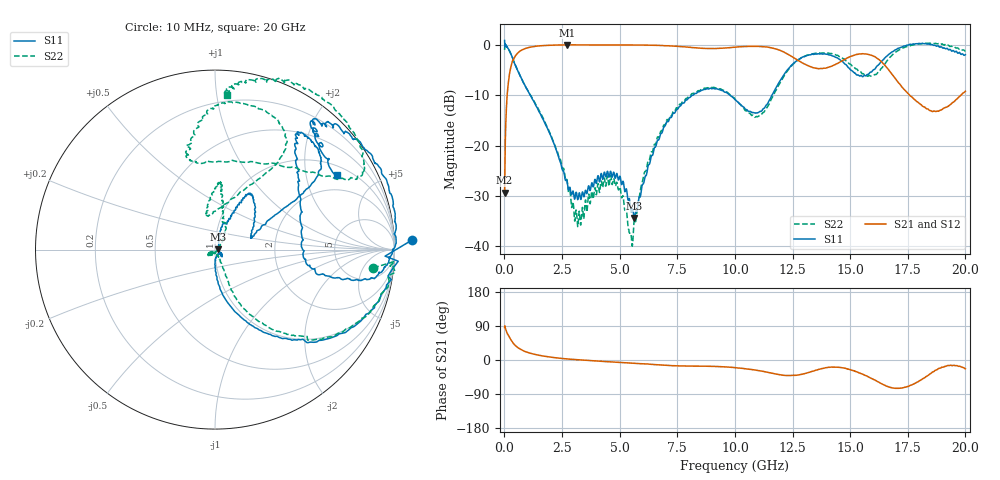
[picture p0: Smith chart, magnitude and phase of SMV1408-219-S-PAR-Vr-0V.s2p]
! Skyworks SMV1408-219 De-embedded S-Parameter Data
! Created  11-5-2013
! 2 Port Network Data
! Mounted on Board # SK41159-3 Rev 1 in Series, Cathode is connected to RF1 as Input( Pin 1) and Anode is connected RF2 as Output(Pin 2)
! Temperature = +25 °C
! RF traces and connectors are de-embedded using TRL calibration and standards
! Reference planes are package pins
! Pin 1 Input port (S-Port1), Pin 2 Output port (S-port2)
! Pin = 0 dBm, Bias: Vr = 0V
! Dev # 1
#  HZ  S  DB  R  50.00
! Rohde & Schwarz ZVA24 4Ports - Version 2.90 - 1145.1110k26 SN: 100216
! Date: 2013-11-05 15:24:36
! Measurements: S11 S21 S12 S22
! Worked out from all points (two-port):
!   2000 points, 10 MHz to 20 GHz, reference 50 ohm
!   highest |S21| = -0.04 dB at 2.73 GHz (marker M1); lowest = -29.4 dB at 10 MHz (marker M2)
!   |S21| within 3 dB of the highest: 387.5 MHz to 12.71 GHz (12.32 GHz wide, 188 % of centre); 14.71 GHz to 16.27 GHz (1.56 GHz wide, 10.1 % of centre)
!   lowest |S11| = -34.4 dB at 5.63 GHz (marker M3), VSWR 1.04, Z = 52 + j0.0925 ohm
!   |S11| at or under -10 dB: 1.126 GHz to 8.193 GHz (7.068 GHz wide, 152 % of centre); 9.779 GHz to 11.61 GHz (1.83 GHz wide, 17.1 % of centre)
!   |S22| runs from -39.9 to 0.3 dB; largest |S21 - S12| = 0.019
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1e7  0.84 2.8  -29.35 85.7  -30.08 86.9  -1.04 -6.6
1.7e8  -0.81 -24.8  -7.70 65.4  -7.68 65.4  -0.80 -24.6
4.3e8  -3.57 -49.6  -2.61 41.0  -2.63 40.9  -3.60 -46.4
1.15e9  -10.20 -76.2  -0.47 17.4  -0.47 17.4  -10.12 -66.6
2.73e9  -27.41 -81.9  -0.04 2.8  -0.05 2.8  -27.19 -65.5
3.35e9  -30.04 -38.7  -0.04 -0.2  -0.04 -0.3  -33.64 -134.3
4.68e9  -26.27 -42.6  -0.05 -5.2  -0.07 -5.3  -27.73 -136.8
5.48e9  -32.47 -23.2  -0.06 -8.1  -0.07 -8.0  -37.52 -45.8
5.63e9  -34.36 2.7  -0.06 -8.7  -0.06 -8.4  -34.98 -3.0
6.01e9  -27.69 59.7  -0.08 -10.1  -0.08 -9.9  -26.75 43.0
6.68e9  -18.90 73.2  -0.14 -12.8  -0.15 -12.6  -18.39 63.5
8.34e9  -9.62 60.6  -0.63 -16.3  -0.64 -16.3  -9.38 84.3
1.001e10  -10.88 39.0  -0.49 -20.2  -0.50 -20.2  -10.85 95.4
1.106e10  -13.32 17.7  -0.35 -28.2  -0.36 -27.9  -14.06 97.9
1.259e10  -3.53 34.5  -2.69 -40.6  -2.70 -41.0  -3.60 54.6
1.334e10  -1.90 44.8  -4.47 -30.3  -4.46 -29.8  -1.84 66.8
1.438e10  -2.51 52.0  -3.87 -19.1  -3.88 -19.1  -2.04 90.8
1.55e10  -6.18 5.9  -1.81 -36.5  -1.81 -36.0  -5.69 105.7
1.667e10  -1.94 -12.2  -4.99 -70.8  -4.99 -70.6  -2.88 35.3
1.758e10  0.09 2.0  -10.03 -67.8  -10.02 -67.5  -0.26 32.6
1.889e10  -0.50 45.9  -13.04 -21.7  -13.02 -20.9  0.16 67.9
2e10  -1.98 31.4  -9.23 -23.1  -9.22 -22.7  -1.29 85.5
